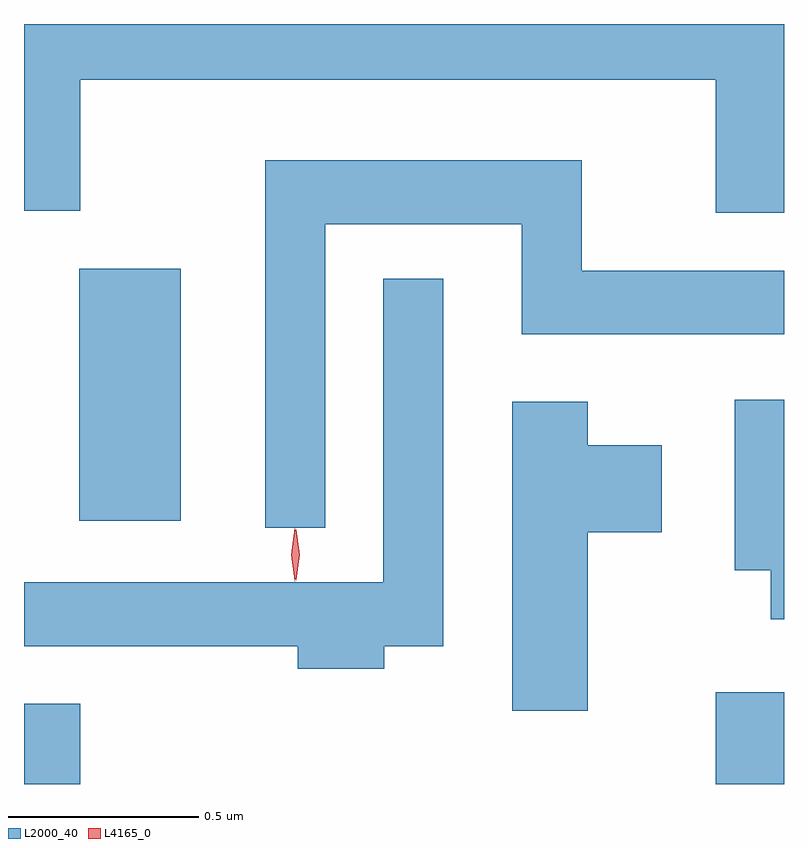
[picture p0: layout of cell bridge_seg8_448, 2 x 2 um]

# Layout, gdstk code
import gdstk
lib = gdstk.Library(unit=1e-6, precision=1e-09)
def R(c, l, rs):  # rectangles x0, y0, x1, y1
    for r in rs: c.add(gdstk.rectangle(r[:2], r[2:], *l))
def P(c, l, *ps):  # polygons
    for p in ps: c.add(gdstk.Polygon(p, *l))
L2000_40 = (2000, 40)
L4165_0 = (4165, 0)

bridge_seg8_448 = lib.new_cell('bridge_seg8_448')
R(bridge_seg8_448, L2000_40, [(985.461,1819.023,985.609,1819.234), (987.281,1819.023,987.461,1819.264), (985.606,1819.716,985.874,1820.379)])
P(bridge_seg8_448, L2000_40, [(987.461,1821.023),(985.461,1821.023),(985.461,1820.531),(985.609,1820.531),(985.609,1820.876),(987.281,1820.876),(987.281,1820.526),(987.461,1820.526)],
  [(986.254,1820.496),(986.771,1820.496),(986.771,1820.206),(987.461,1820.206),(987.461,1820.374),(986.929,1820.374),(986.929,1820.664),(986.096,1820.664),(986.096,1819.698),(986.254,1819.698)],
  [(986.409,1819.386),(986.564,1819.386),(986.564,1820.353),(986.406,1820.353),(986.406,1819.554),(985.461,1819.554),(985.461,1819.386),(986.181,1819.386),(986.181,1819.326),(986.409,1819.326)],
  [(987.461,1820.034),(987.331,1820.034),(987.331,1819.586),(987.426,1819.586),(987.426,1819.456),(987.461,1819.456)],
  [(986.944,1819.686),(987.139,1819.686),(987.139,1819.914),(986.944,1819.914),(986.944,1820.029),(986.746,1820.029),(986.746,1819.216),(986.944,1819.216)])
P(bridge_seg8_448, L4165_0, [(986.174,1819.557),(986.173,1819.558),(986.164,1819.626),(986.173,1819.696),(986.174,1819.696),(986.174,1819.696),(986.184,1819.626),(986.174,1819.558)],
  [(986.177,1819.559),(986.176,1819.56),(986.166,1819.626),(986.176,1819.692),(986.176,1819.693),(986.177,1819.692),(986.186,1819.626),(986.177,1819.56)])

lib.write_gds('bridge_seg8_448.gds')
